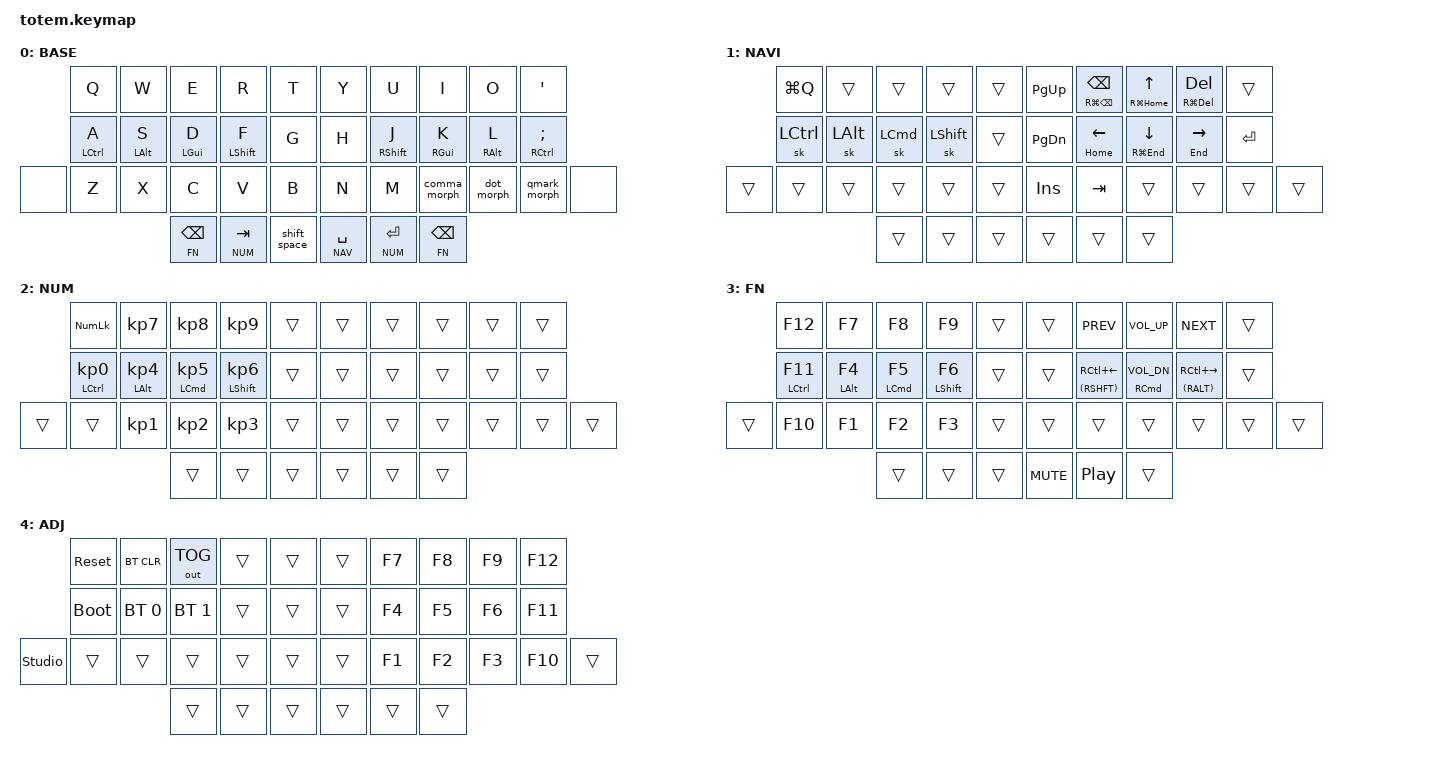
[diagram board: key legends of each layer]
//
//                                                        ▀▀▀▀▀     ▀▀▀▀▀          ▀▀█▀▀
//                                                        ▄▀▀▀▄  ▄  ▄▀▀▀▄  ▄  ▄▀▀▀▄  █  ▄▀▀▀▄
//                                                        █   █  █  █   █  █  █   █  █  █   █
//                                                         ▀▀▀   █   ▀▀▀   █   ▀▀▀   ▀   ▀▀▀
//                                                               █      ▄▄▄█▄▄▄    █   █  
//                                                               ▀      █  █  █     █▄█
//                                                             ▀▀▀▀▀    █  █  █      ▀
//                                                                      ▀  ▀  ▀
//
// ▄▄▄▄▄▄▄▄▄▄▄▄▄▄▄▄▄▄▄▄▄▄▄▄▄▄▄▄▄▄▄▄▄▄▄▄▄▄▄▄▄▄▄▄▄▄▄▄▄▄▄▄▄▄▄▄▄▄▄▄▄▄▄▄▄▄▄▄▄▄▄▄▄▄▄▄▄▄▄▄▄▄▄▄▄▄▄▄▄▄▄▄▄▄▄▄▄▄▄▄▄▄▄▄▄▄▄▄▄▄▄▄▄▄▄▄▄▄▄▄▄▄▄▄▄▄▄▄▄▄▄▄▄▄▄▄▄▄▄▄▄▄▄▄▄▄▄▄▄

#include <behaviors.dtsi>
#include <dt-bindings/zmk/bt.h>
#include <dt-bindings/zmk/keys.h>
#include <dt-bindings/zmk/outputs.h>

// Layer IDs

#define BASE 0
#define NAV  1
#define NUM  2
#define FN   3
#define ADJ  4

// Key Groups

#define KEYS_L       0 1 2 3 4 10 11 12 13 14 20 21 22 23 24 25
#define KEYS_R       5 6 7 8 9 15 16 17 18 19 26 27 28 29 30 31
#define KEYS_L_THUMB 32 33 34
#define KEYS_R_THUMB 35 36 37
#define KEYS_THUMBS  KEYS_L_THUMB KEYS_R_THUMB

// Timings

#define COMBO_TIMEOUT_FAST 18
#define COMBO_TIMEOUT_SLOW 30
#define COMBO_IDLE_FAST 150
#define COMBO_IDLE_SLOW 50

/ {
    combos {
        compatible = "zmk,combos";

        // Left hand horizontal combos

        combo_esc_l {
            key-positions = <1 2>;
            bindings = <&kp ESC>;
            timeout-ms = <COMBO_TIMEOUT_FAST>;
            require-prior-idle-ms = <COMBO_IDLE_FAST>;
        };

        // Right hand horizontal combos

        combo_esc_r {
            key-positions = <7 8>;
            bindings = <&kp ESC>;
            timeout-ms = <COMBO_TIMEOUT_FAST>;
            require-prior-idle-ms = <COMBO_IDLE_FAST>;
        };

        combo_l_para {
            key-positions = <16 17>;
            bindings = <&l_para_morph>;
            timeout-ms = <COMBO_TIMEOUT_FAST>;
            require-prior-idle-ms = <COMBO_IDLE_FAST>;
        };

        combo_r_para {
            key-positions = <17 18>;
            bindings = <&r_para_morph>;
            timeout-ms = <COMBO_TIMEOUT_FAST>;
            require-prior-idle-ms = <COMBO_IDLE_FAST>;
        };

        combo_l_bracket {
            key-positions = <27 28>;
            bindings = <&kp LEFT_BRACKET>;
            timeout-ms = <COMBO_TIMEOUT_FAST>;
            require-prior-idle-ms = <COMBO_IDLE_FAST>;
        };

        combo_r_bracket {
            key-positions = <28 29>;
            bindings = <&kp RIGHT_BRACKET>;
            timeout-ms = <COMBO_TIMEOUT_FAST>;
            require-prior-idle-ms = <COMBO_IDLE_FAST>;
        };

        // Left hand vertical combos

        combo_at {
            bindings = <&kp AT>;
            key-positions = <1 11>;
            timeout-ms = <COMBO_TIMEOUT_SLOW>;
            require-prior-idle-ms = <COMBO_IDLE_SLOW>;
        };

        combo_hash {
            bindings = <&kp HASH>;
            key-positions = <2 12>;
            timeout-ms = <COMBO_TIMEOUT_SLOW>;
            require-prior-idle-ms = <COMBO_IDLE_SLOW>;
        };

        combo_dollar {
            bindings = <&kp DOLLAR>;
            key-positions = <3 13>;
            timeout-ms = <COMBO_TIMEOUT_SLOW>;
            require-prior-idle-ms = <COMBO_IDLE_SLOW>;
        };

        combo_percent {
            bindings = <&kp PERCENT>;
            key-positions = <4 14>;
            timeout-ms = <COMBO_TIMEOUT_SLOW>;
            require-prior-idle-ms = <COMBO_IDLE_SLOW>;
        };

        combo_grave {
            bindings = <&kp GRAVE>;
            key-positions = <22 11>;
            timeout-ms = <COMBO_TIMEOUT_SLOW>;
            require-prior-idle-ms = <COMBO_IDLE_SLOW>;
        };

        combo_bslash {
            bindings = <&kp BACKSLASH>;
            key-positions = <12 23>;
            timeout-ms = <COMBO_TIMEOUT_SLOW>;
            require-prior-idle-ms = <COMBO_IDLE_SLOW>;
        };

        combo_equals {
            bindings = <&kp EQUAL>;
            key-positions = <13 24>;
            timeout-ms = <COMBO_TIMEOUT_SLOW>;
            require-prior-idle-ms = <COMBO_IDLE_SLOW>;
        };

        combo_tilde {
            bindings = <&kp TILDE>;
            key-positions = <14 25>;
            timeout-ms = <COMBO_TIMEOUT_SLOW>;
            require-prior-idle-ms = <COMBO_IDLE_SLOW>;
        };

        // Right hand vertical combos

        combo_caret {
            bindings = <&kp CARET>;
            key-positions = <5 15>;
            timeout-ms = <COMBO_TIMEOUT_SLOW>;
            require-prior-idle-ms = <COMBO_IDLE_SLOW>;
        };

        combo_plus {
            bindings = <&kp PLUS>;
            key-positions = <6 16>;
            timeout-ms = <COMBO_TIMEOUT_SLOW>;
            require-prior-idle-ms = <COMBO_IDLE_SLOW>;
        };

        combo_star {
            bindings = <&kp STAR>;
            key-positions = <7 17>;
            timeout-ms = <COMBO_TIMEOUT_SLOW>;
            require-prior-idle-ms = <COMBO_IDLE_SLOW>;
        };

        combo_ampersand {
            bindings = <&kp AMPERSAND>;
            key-positions = <8 18>;
            timeout-ms = <COMBO_TIMEOUT_SLOW>;
            require-prior-idle-ms = <COMBO_IDLE_SLOW>;
        };

        combo_underscore {
            bindings = <&kp UNDERSCORE>;
            key-positions = <15 26>;
            timeout-ms = <COMBO_TIMEOUT_SLOW>;
            require-prior-idle-ms = <COMBO_IDLE_SLOW>;
        };

        combo_dash {
            bindings = <&kp MINUS>;
            key-positions = <16 27>;
            timeout-ms = <COMBO_TIMEOUT_SLOW>;
            require-prior-idle-ms = <COMBO_IDLE_SLOW>;
        };

        combo_fslash {
            bindings = <&kp FSLH>;
            key-positions = <17 28>;
            timeout-ms = <COMBO_TIMEOUT_SLOW>;
            require-prior-idle-ms = <COMBO_IDLE_SLOW>;
        };

        combo_pipe {
            bindings = <&kp PIPE>;
            key-positions = <18 29>;
            timeout-ms = <COMBO_TIMEOUT_SLOW>;
            require-prior-idle-ms = <COMBO_IDLE_SLOW>;
        };
    };
};

/ {
    behaviors {
        hml: homerow_mod_left {
            compatible = "zmk,behavior-hold-tap";
            label = "Home Row Mod Left";
            #binding-cells = <2>;
            bindings = <&kp>, <&kp>;

            tapping-term-ms = <280>;
            quick-tap-ms = <175>;
            require-prior-idle-ms = <150>;
            flavor = "balanced";
            hold-trigger-key-positions = <KEYS_R KEYS_THUMBS>;
            hold-trigger-on-release;
        };

        hmr: homerow_mod_right {
            compatible = "zmk,behavior-hold-tap";
            label = "Homerow Mods Right";
            #binding-cells = <2>;
            bindings = <&kp>, <&kp>;

            tapping-term-ms = <280>;
            quick-tap-ms = <175>;
            require-prior-idle-ms = <150>;
            flavor = "balanced";
            hold-trigger-on-release;
            hold-trigger-key-positions = <KEYS_L KEYS_THUMBS>;
        };

        comma_morph: comma_morph {
            compatible = "zmk,behavior-mod-morph";
            label = "Comma/Semicolon/Less than";
            bindings = <&kp COMMA>, <&comma_inner_morph>;

            #binding-cells = <0>;
            mods = <(MOD_LSFT|MOD_RSFT)>;
        };

        comma_inner_morph: comma_inner_morph {
            compatible = "zmk,behavior-mod-morph";
            label = "Semicolon/Less than";

            // my mac keyboard layout swaps p/; hence p here is actually ;

            bindings = <&kp P>, <&kp LESS_THAN>;

            #binding-cells = <0>;
            mods = <(MOD_LGUI|MOD_RGUI)>;
        };

        dot_morph: dot_morph {
            compatible = "zmk,behavior-mod-morph";
            label = "Dot/Colon/Greater than";
            bindings = <&kp DOT>, <&dot_inner_morph>;

            #binding-cells = <0>;
            mods = <(MOD_LSFT|MOD_RSFT)>;
        };

        dot_inner_morph: dot_inner_morph {
            compatible = "zmk,behavior-mod-morph";
            label = "Colon/Greater than";

            // my mac keyboard layout swaps P/: hence P here is actually :

            bindings = <&kp LS(P)>, <&kp GREATER_THAN>;

            #binding-cells = <0>;
            mods = <(MOD_LGUI|MOD_RGUI)>;
        };

        qmark_morph: qmark_morph {
            compatible = "zmk,behavior-mod-morph";
            label = "Question Mark/Exclamation Point";
            bindings = <&kp QUESTION>, <&kp EXCLAMATION>;

            #binding-cells = <0>;
            mods = <(MOD_LSFT|MOD_RSFT)>;
        };

        l_para_morph: l_para_morph {
            compatible = "zmk,behavior-mod-morph";
            label = "Left Parenthesis/Left Angle Bracket";
            bindings = <&kp LEFT_PARENTHESIS>, <&kp LESS_THAN>;

            #binding-cells = <0>;
            mods = <(MOD_LSFT|MOD_RSFT)>;
        };

        r_para_morph: r_para_morph {
            compatible = "zmk,behavior-mod-morph";
            label = "Right Parenthesis/Right Angle Bracket";
            bindings = <&kp RIGHT_PARENTHESIS>, <&kp GREATER_THAN>;

            #binding-cells = <0>;
            mods = <(MOD_LSFT|MOD_RSFT)>;
        };

        shift_space: shift_space {
            compatible = "zmk,behavior-mod-morph";
            label = "SHIFT_SPACE";
            bindings = <&sk LSHIFT>, <&kp SPACE>;

            #binding-cells = <0>;
            mods = <(MOD_LGUI|MOD_LCTL)>;
            keep-mods = <(MOD_LGUI|MOD_LCTL)>;
        };
    };

    keymap {
        compatible = "zmk,keymap";

        base_layer {
            label = "BASE";
            bindings = <
       &kp Q         &kp W        &kp E        &kp R         &kp T          &kp Y          &kp U         &kp I         &kp O        &kp SINGLE_QUOTE
       &hml LCTRL A  &hml LALT S  &hml LGUI D  &hml LSHFT F  &kp G          &kp H          &hmr RSHFT J  &hmr RGUI K   &hmr RALT L  &hmr RCTRL SEMI
&none  &kp Z         &kp X        &kp C        &kp V         &kp B          &kp N          &kp M         &comma_morph  &dot_morph   &qmark_morph      &none
                                  &lt FN BSPC  &lt NUM TAB   &shift_space   &lt NAV SPACE  &lt NUM RET   &lt FN BSPC
            >;
        };

        nav_layer {
            label = "NAVI";
            bindings = <
        &kp LG(Q)  &trans    &trans    &trans     &trans    &kp PG_UP  &mt RG(BSPC) BSPC  &mt RG(HOME) UP   &mt RG(DEL) DEL  &trans
        &sk LCTRL  &sk LALT  &sk LCMD  &sk LSHFT  &trans    &kp PG_DN  &mt HOME LEFT      &mt RG(END) DOWN  &mt END RIGHT    &kp ENTER
&trans  &trans     &trans    &trans    &trans     &trans    &kp INS    &kp TAB            &trans            &trans           &trans     &trans
                             &trans    &trans     &trans    &trans     &trans             &trans
            >;
        };

        num_layer {
            bindings = <
        &kp KP_NUMLOCK    &kp KP_N7        &kp KP_N8        &kp KP_N9         &trans    &trans  &trans  &trans  &trans  &trans
        &hml LCTRL KP_N0  &hml LALT KP_N4  &hml LCMD KP_N5  &hml LSHFT KP_N6  &trans    &trans  &trans  &trans  &trans  &trans
&trans  &trans            &kp KP_N1        &kp KP_N2        &kp KP_N3         &trans    &trans  &trans  &trans  &trans  &trans  &trans
                                           &trans           &trans            &trans    &trans  &trans  &trans
            >;

            label = "NUM";
        };

        fn_layer {
            bindings = <
        &kp F12         &kp F7        &kp F8        &kp F9         &trans    &trans      &kp C_PREV             &kp C_VOL_UP        &kp C_NEXT             &trans
        &hml LCTRL F11  &hml LALT F4  &hml LCMD F5  &hml LSHFT F6  &trans    &trans      &hmr (RSHFT) RC(LEFT)  &hmr RCMD C_VOL_DN  &hmr (RALT) RC(RIGHT)  &trans
&trans  &kp F10         &kp F1        &kp F2        &kp F3         &trans    &trans      &trans                 &trans              &trans                 &trans  &trans
                                      &trans        &trans         &trans    &kp C_MUTE  &kp C_PP               &trans
            >;

            label = "FN";
        };

        adjust_layer {
            label = "ADJ";
            bindings = <
                &sys_reset   &bt BT_CLR    &out OUT_TOG  &trans  &trans    &trans  &kp F7  &kp F8  &kp F9  &kp F12
                &bootloader  &bt BT_SEL 0  &bt BT_SEL 1  &trans  &trans    &trans  &kp F4  &kp F5  &kp F6  &kp F11
&studio_unlock  &trans       &trans        &trans        &trans  &trans    &trans  &kp F1  &kp F2  &kp F3  &kp F10  &trans
                                           &trans        &trans  &trans    &trans  &trans  &trans
            >;
        };
    };

    conditional_layers {
        compatible = "zmk,conditional-layers";

        adj_layer {
            if-layers = <NAV NUM>;
            then-layer = <ADJ>;
        };
    };
};
